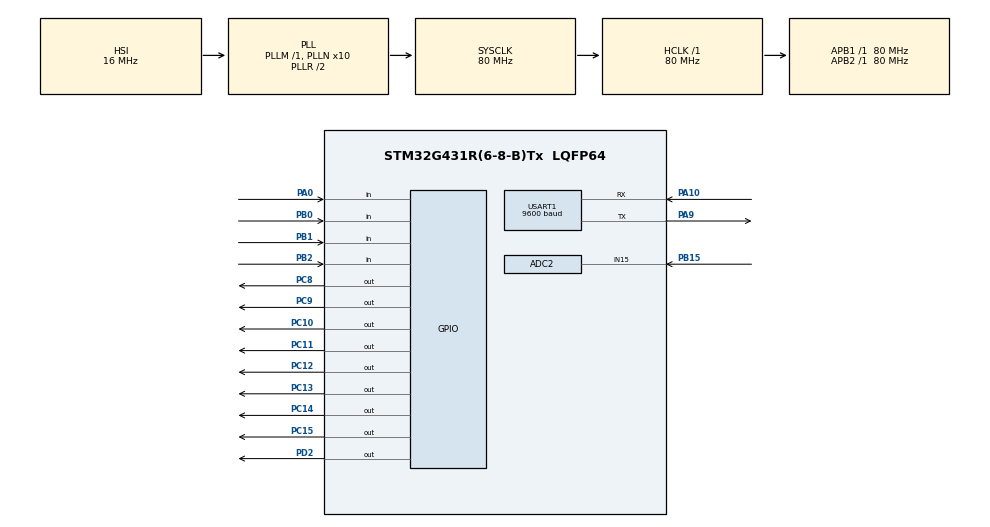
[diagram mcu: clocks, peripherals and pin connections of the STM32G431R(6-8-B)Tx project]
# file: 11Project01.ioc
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ADC2.Channel-0\#ChannelRegularConversion=ADC_CHANNEL_15
ADC2.NbrOfConversionFlag=1
ADC2.OffsetNumber-0\#ChannelRegularConversion=ADC_OFFSET_NONE
ADC2.Rank-0\#ChannelRegularConversion=1
ADC2.SamplingTime-0\#ChannelRegularConversion=ADC_SAMPLETIME_2CYCLES_5
Mcu.Family=STM32G4
Mcu.Name=STM32G431R(6-8-B)Tx
Mcu.Package=LQFP64
NVIC.PriorityGroup=NVIC_PRIORITYGROUP_4
NVIC.USART1_IRQn=true\:0\:0\:false\:false\:true\:true\:true
PA0.Signal=GPIO_Input
PA10.Mode=Asynchronous
PA10.Signal=USART1_RX
PA13.Mode=Serial_Wire
PA13.Signal=SYS_JTMS-SWDIO
PA14.Mode=Serial_Wire
PA14.Signal=SYS_JTCK-SWCLK
PA9.Mode=Asynchronous
PA9.Signal=USART1_TX
PB0.Signal=GPIO_Input
PB1.Signal=GPIO_Input
PB15.Mode=IN15-Single-Ended
PB15.Signal=ADC2_IN15
PB2.Signal=GPIO_Input
PC10.Signal=GPIO_Output
PC11.Signal=GPIO_Output
PC12.Signal=GPIO_Output
PC13.Signal=GPIO_Output
PC14-OSC32_IN.Signal=GPIO_Output
PC15-OSC32_OUT.Signal=GPIO_Output
PC8.Signal=GPIO_Output
PC9.Signal=GPIO_Output
PD2.Signal=GPIO_Output
PF0-OSC_IN.Mode=HSE-External-Oscillator
PF0-OSC_IN.Signal=RCC_OSC_IN
PF1-OSC_OUT.Mode=HSE-External-Oscillator
PF1-OSC_OUT.Signal=RCC_OSC_OUT
ProjectManager.HeapSize=0x200
ProjectManager.StackSize=0x400
ProjectManager.TargetToolchain=MDK-ARM V5
RCC.ADC12Freq_Value=80000000
RCC.AHBFreq_Value=80000000
RCC.APB1Freq_Value=80000000
RCC.APB1TimFreq_Value=80000000
RCC.APB2Freq_Value=80000000
RCC.APB2TimFreq_Value=80000000
RCC.CortexFreq_Value=80000000
RCC.EXTERNAL_CLOCK_VALUE=12288000
RCC.HCLKFreq_Value=80000000
RCC.HSE_VALUE=24000000
RCC.HSI48_VALUE=48000000
RCC.HSI_VALUE=16000000
RCC.LSE_VALUE=32768
RCC.PLLN=10
RCC.SYSCLKFreq_VALUE=80000000
RCC.SYSCLKSource=RCC_SYSCLKSOURCE_PLLCLK
RCC.USBFreq_Value=80000000
RCC.VCOOutputFreq_Value=160000000
USART1.BaudRate=9600
USART1.VirtualMode-Asynchronous=VM_ASYNC
VP_SYS_VS_DBSignals.Mode=DisableDeadBatterySignals
board=custom

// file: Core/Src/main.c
/* USER CODE BEGIN Header */
/**
  ******************************************************************************
  * @file           : main.c
  * @brief          : Main program body
  ******************************************************************************
  * @attention
  *
  * <h2><center>&copy; Copyright (c) 2023 STMicroelectronics.
  * All rights reserved.</center></h2>
  *
  * This software component is licensed by ST under BSD 3-Clause license,
  * the "License"; You may not use this file except in compliance with the
  * License. You may obtain a copy of the License at:
  *                        opensource.org/licenses/BSD-3-Clause
  *
  ******************************************************************************
  */
/* USER CODE END Header */
#include "main.h"
#include "adc.h"
#include "usart.h"
#include "gpio.h"

/* USER CODE BEGIN Includes */
#include "stdio.h"
#include "string.h"
#include "i2c_hal.h"
#include "lcd.h"
/* USER CODE END Includes */

/* USER CODE BEGIN PD */
#define KEY1 HAL_GPIO_ReadPin(GPIOB,GPIO_PIN_0)
#define KEY2 HAL_GPIO_ReadPin(GPIOB,GPIO_PIN_1)
#define KEY3 HAL_GPIO_ReadPin(GPIOB,GPIO_PIN_2)
#define KEY4 HAL_GPIO_ReadPin(GPIOA,GPIO_PIN_0)
/* USER CODE END PD */

/* USER CODE BEGIN PV */
u8 key_val,key_down,key_up,key_old;
double ao1, ao2;
double aoMax=3.0, aoMin=1.0;
double aoMaxOld, aoMinOld;
u8 led2_sta = 1, led3_sta;
u8 sta_lcd;
u8 ptr[30];
unsigned char tx[21],rx,rx_buf[21],dex;//串口相关变量
__IO uint32_t ww_Tick;
u8 tc[128];
u8 tcs = 0;

u8 led_in;
u8 e2prom[5];//EEPROM存储数组
/* USER CODE END PV */

void SystemClock_Config(void);

/* USER CODE BEGIN 0 */
u8 key_scan()
{
	if((KEY1 == 0)||(KEY2 == 0)||(KEY3 == 0)||(KEY4 == 0))
	{
		HAL_Delay(10);
		if(KEY1 == 0) return 1;
		else if(KEY2 == 0) return 2;
		else if(KEY3 == 0) return 3;
		else if(KEY4 == 0) return 4;
	}return 0;
}

void led_dis(u8 led)
{
	HAL_GPIO_WritePin(GPIOC,0xff00,GPIO_PIN_SET);
	HAL_GPIO_WritePin(GPIOD,GPIO_PIN_2,GPIO_PIN_SET);
	HAL_GPIO_WritePin(GPIOD,GPIO_PIN_2,GPIO_PIN_RESET);

	HAL_GPIO_WritePin(GPIOC,led<<8,GPIO_PIN_RESET);
	HAL_GPIO_WritePin(GPIOD,GPIO_PIN_2,GPIO_PIN_SET);
	HAL_GPIO_WritePin(GPIOD,GPIO_PIN_2,GPIO_PIN_RESET);
}

void key_Proc()
{
	static __IO uint32_t Key_Tick,DKey_Tick;

	if(uwTick - Key_Tick < 50)
		return;

	Key_Tick = uwTick;

	key_val = key_scan();
	key_down = key_val&(key_val^key_old);
	key_up = ~key_val&(key_val^key_old);
	key_old = key_val;

	if(key_down != 0)
		DKey_Tick=uwTick;

	switch (key_up)
	{
		case 1:
		{
			sta_lcd = ~sta_lcd;
			LCD_Clear(Black);
			break;
		}
		case 2:
		{
			if(sta_lcd)
			{
				aoMaxOld = aoMax;
				aoMax += 0.1;
				if(aoMax > 3.30000001)
					aoMax = 0;
				led2_sta = 1;
				if(aoMin >= aoMax)
				{
					led2_sta = 0;
//					aoMax = aoMaxOld;
				}

			}
			break;
		}
		case 3:
		{
			if(sta_lcd)
			{
				aoMinOld = aoMin;
				aoMin += 0.1;
				if(aoMin > 3.300000001)
					aoMin = 0;
				led2_sta = 1;
				if(aoMin >= aoMax)
				{
//					aoMin = aoMinOld;
					led2_sta = 0;
				}

			}
			break;
		}
		case 4:
		{
			break;
		}
	}

}

void lcd_Proc()
{
	if(!sta_lcd)
	{
		sprintf((char*)ptr,"      Data");
		LCD_DisplayStringLine(Line0,(u8*)ptr);
		sprintf((char*)ptr," V:%.2lfV", ao2);
		LCD_DisplayStringLine(Line2,(u8*)ptr);
		sprintf((char*)ptr," T:%ds", (uwTick - ww_Tick) / 1000);
		LCD_DisplayStringLine(Line3,(u8*)ptr);
	}else{
		sprintf((char*)ptr,"      Para");
		LCD_DisplayStringLine(Line0,(u8*)ptr);
		sprintf((char*)ptr," Vmax:%.1lfV", aoMax);
		LCD_DisplayStringLine(Line2,(u8*)ptr);
		sprintf((char*)ptr," Vmin:%.1lfV", aoMin);
		LCD_DisplayStringLine(Line3,(u8*)ptr);
	}
}

void led_Proc()
{
	if(!led2_sta)
		led_in |= 0x02;
	else
		led_in &= ~(0x02);

	if(led3_sta)
		led_in |= 0x04;
	else
		led_in &= ~(0x04);

	led_dis(led_in);
}

void getADC2(void) // 获取PB15引脚的电压(对应R37电阻)
{
	uint16_t adc = 0;
	HAL_ADC_Start(&hadc2);
	adc = HAL_ADC_GetValue(&hadc2);
	ao2 = (3.3 * adc)/4096;

	if(ao2 < aoMin)
		ww_Tick = uwTick;

	if(ao2 > aoMax)
		ww_Tick = uwTick;

}

unsigned char isRxCplt()
{
	if((dex==7)&&(rx_buf[1]=='.')&&(rx_buf[3]==',')&&(rx_buf[5]=='.'))//接收到3位数据 且该数据为PA1
		return 1;
	else//接收到其他数据
		return 0;
}

void Uart_Proc()
{
	static __IO uint32_t Uart_Tick;

	if(uwTick-Uart_Tick<50)
		return;
	Uart_Tick=uwTick;

	if(isRxCplt()==1)//返回当前频率参数
	{
		led3_sta = 0;
		aoMax = (rx_buf[0] - '0') +  (rx_buf[2] - '0') * 0.1;
		aoMin = (rx_buf[4] - '0') +  (rx_buf[6] - '0') * 0.1;
	}
	else
	{
		led3_sta = 1;
	}

	dex=0;//串口缓冲数组索引清零
}

void HAL_UART_RxCpltCallback(UART_HandleTypeDef *huart)
{
	rx_buf[dex++]=rx;//一位一位存入缓存数组，索引＋1

	HAL_UART_Receive_IT(&huart1,&rx,1);//重新开启接收中断
}
/* USER CODE END 0 */

int main(void)
{

  /* MCU Configuration--------------------------------------------------------*/

  /* Reset of all peripherals, Initializes the Flash interface and the Systick. */
  HAL_Init();

  /* Configure the system clock */
  SystemClock_Config();

  /* Initialize all configured peripherals */
  MX_GPIO_Init();
  MX_ADC2_Init();
  MX_USART1_UART_Init();
  /* USER CODE BEGIN 2 */
	LCD_Init();
	LCD_SetBackColor(Black);
	LCD_SetTextColor(White);
	LCD_Clear(Black);
	led_dis(0);
	HAL_UART_Receive_IT(&huart1,&rx,1);
  /* USER CODE END 2 */

  /* Infinite loop */
  while (1)
  {

    /* USER CODE BEGIN 3 */
		getADC2();
		key_Proc();
		lcd_Proc();
		led_Proc();
		Uart_Proc();
  }
  /* USER CODE END 3 */
}

void SystemClock_Config(void)
{
  RCC_OscInitTypeDef RCC_OscInitStruct = {0};
  RCC_ClkInitTypeDef RCC_ClkInitStruct = {0};
  RCC_PeriphCLKInitTypeDef PeriphClkInit = {0};

  /** Configure the main internal regulator output voltage
  */
  HAL_PWREx_ControlVoltageScaling(PWR_REGULATOR_VOLTAGE_SCALE1);
  /** Initializes the RCC Oscillators according to the specified parameters
  * in the RCC_OscInitTypeDef structure.
  */
  RCC_OscInitStruct.OscillatorType = RCC_OSCILLATORTYPE_HSI;
  RCC_OscInitStruct.HSIState = RCC_HSI_ON;
  RCC_OscInitStruct.HSICalibrationValue = RCC_HSICALIBRATION_DEFAULT;
  RCC_OscInitStruct.PLL.PLLState = RCC_PLL_ON;
  RCC_OscInitStruct.PLL.PLLSource = RCC_PLLSOURCE_HSI;
  RCC_OscInitStruct.PLL.PLLM = RCC_PLLM_DIV1;
  RCC_OscInitStruct.PLL.PLLN = 10;
  RCC_OscInitStruct.PLL.PLLP = RCC_PLLP_DIV2;
  RCC_OscInitStruct.PLL.PLLQ = RCC_PLLQ_DIV2;
  RCC_OscInitStruct.PLL.PLLR = RCC_PLLR_DIV2;
  if (HAL_RCC_OscConfig(&RCC_OscInitStruct) != HAL_OK)
  {
    Error_Handler();
  }
  /** Initializes the CPU, AHB and APB buses clocks
  */
  RCC_ClkInitStruct.ClockType = RCC_CLOCKTYPE_HCLK|RCC_CLOCKTYPE_SYSCLK
                              |RCC_CLOCKTYPE_PCLK1|RCC_CLOCKTYPE_PCLK2;
  RCC_ClkInitStruct.SYSCLKSource = RCC_SYSCLKSOURCE_PLLCLK;
  RCC_ClkInitStruct.AHBCLKDivider = RCC_SYSCLK_DIV1;
  RCC_ClkInitStruct.APB1CLKDivider = RCC_HCLK_DIV1;
  RCC_ClkInitStruct.APB2CLKDivider = RCC_HCLK_DIV1;

  if (HAL_RCC_ClockConfig(&RCC_ClkInitStruct, FLASH_LATENCY_2) != HAL_OK)
  {
    Error_Handler();
  }
  /** Initializes the peripherals clocks
  */
  PeriphClkInit.PeriphClockSelection = RCC_PERIPHCLK_USART1|RCC_PERIPHCLK_ADC12;
  PeriphClkInit.Usart1ClockSelection = RCC_USART1CLKSOURCE_PCLK2;
  PeriphClkInit.Adc12ClockSelection = RCC_ADC12CLKSOURCE_SYSCLK;
  if (HAL_RCCEx_PeriphCLKConfig(&PeriphClkInit) != HAL_OK)
  {
    Error_Handler();
  }
}

void Error_Handler(void)
{
  __disable_irq();
  while (1)
  {
  }
}

/************************ (C) COPYRIGHT STMicroelectronics *****END OF FILE****/
